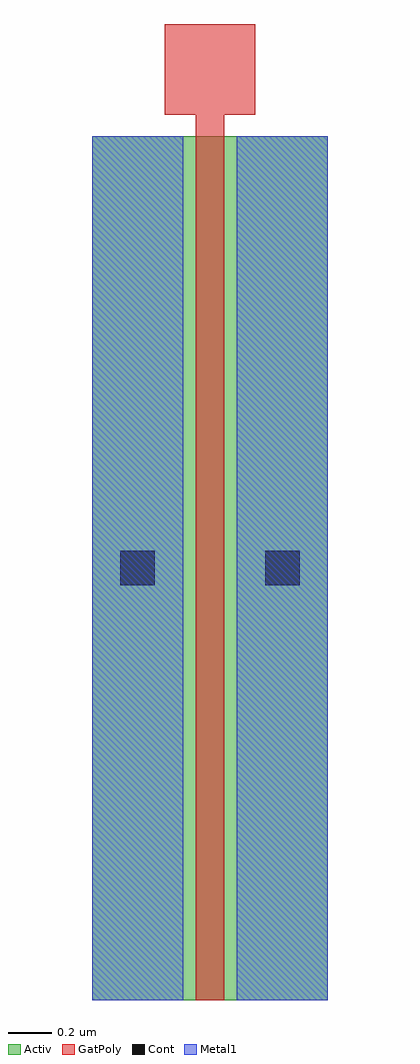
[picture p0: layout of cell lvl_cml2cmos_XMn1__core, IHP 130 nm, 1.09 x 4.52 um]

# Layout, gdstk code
import gdstk
lib = gdstk.Library(unit=1e-6, precision=1e-09)
def R(c, l, rs):  # rectangles x0, y0, x1, y1
    for r in rs: c.add(gdstk.rectangle(r[:2], r[2:], *l))
Activ = (1, 0)
GatPoly = (5, 0)
Cont = (6, 0)
Metal1 = (8, 0)

lvl_cml2cmos_xmn1__core = lib.new_cell('lvl_cml2cmos_XMn1__core')
R(lvl_cml2cmos_xmn1__core, Activ, [(0,0,1.09,4)])
R(lvl_cml2cmos_xmn1__core, GatPoly, [(0.48,0,0.61,4), (0.48,4,0.61,4.1), (0.335,4.1,0.755,4.52)])
R(lvl_cml2cmos_xmn1__core, Cont, [(0.13,1.92,0.29,2.08), (0.8,1.92,0.96,2.08)])
R(lvl_cml2cmos_xmn1__core, Metal1, [(0,0,0.42,4), (0.67,0,1.09,4)])

lib.write_gds('lvl_cml2cmos_XMn1__core.gds')
